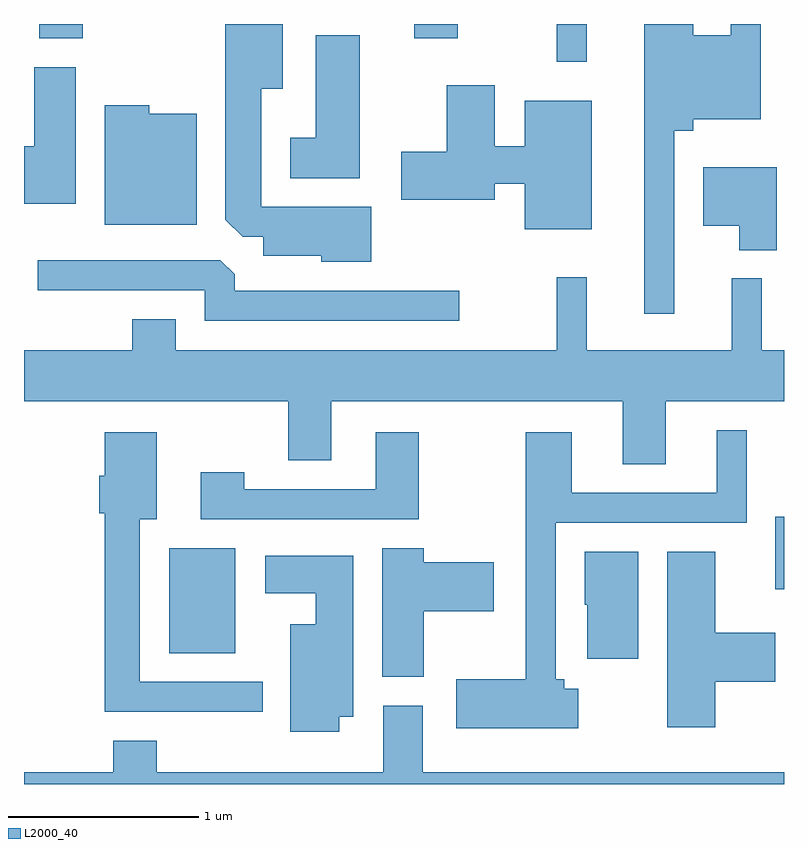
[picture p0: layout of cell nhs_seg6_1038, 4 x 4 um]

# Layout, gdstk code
import gdstk
lib = gdstk.Library(unit=1e-6, precision=1e-09)
def R(c, l, rs):  # rectangles x0, y0, x1, y1
    for r in rs: c.add(gdstk.rectangle(r[:2], r[2:], *l))
def P(c, l, *ps):  # polygons
    for p in ps: c.add(gdstk.Polygon(p, *l))
L2000_40 = (2000, 40)

nhs_seg6_1038 = lib.new_cell('nhs_seg6_1038')
R(nhs_seg6_1038, L2000_40, [(216.376,1630.851,216.724,1631.404), (219.566,1631.186,219.611,1631.569), (218.416,1633.963,218.574,1634.162), (215.691,1634.086,215.919,1634.162), (217.666,1634.086,217.894,1634.162)])
P(nhs_seg6_1038, L2000_40, [(217.439,1633.199),(216.859,1633.199),(216.859,1633.821),(216.974,1633.821),(216.974,1634.162),(216.671,1634.162),(216.671,1633.132),(216.762,1633.041),(216.871,1633.041),(216.871,1632.941),(217.176,1632.941),(217.176,1632.911),(217.439,1632.911)],
  [(219.034,1633.601),(219.134,1633.601),(219.134,1633.661),(219.489,1633.661),(219.489,1634.162),(219.331,1634.162),(219.331,1634.104),(219.134,1634.104),(219.134,1634.162),(218.876,1634.162),(218.876,1632.638),(219.034,1632.638)],
  [(217.379,1634.104),(217.146,1634.104),(217.146,1633.564),(217.011,1633.564),(217.011,1633.351),(217.379,1633.351)],
  [(215.884,1633.934),(215.666,1633.934),(215.666,1633.519),(215.611,1633.519),(215.611,1633.216),(215.884,1633.216)],
  [(218.599,1633.759),(218.246,1633.759),(218.246,1633.519),(218.089,1633.519),(218.089,1633.839),(217.836,1633.839),(217.836,1633.489),(217.596,1633.489),(217.596,1633.236),(218.089,1633.236),(218.089,1633.321),(218.246,1633.321),(218.246,1633.081),(218.599,1633.081)],
  [(216.519,1633.689),(216.269,1633.689),(216.269,1633.734),(216.036,1633.734),(216.036,1633.106),(216.519,1633.106)],
  [(219.574,1633.409),(219.186,1633.409),(219.186,1633.101),(219.376,1633.101),(219.376,1632.971),(219.574,1632.971)],
  [(217.903,1632.759),(216.719,1632.759),(216.719,1632.844),(216.644,1632.919),(215.683,1632.919),(215.683,1632.761),(216.561,1632.761),(216.561,1632.601),(217.903,1632.601)],
  [(218.989,1632.176),(219.611,1632.176),(219.611,1632.444),(219.494,1632.444),(219.494,1632.823),(219.336,1632.823),(219.336,1632.444),(218.574,1632.444),(218.574,1632.828),(218.416,1632.828),(218.416,1632.444),(216.409,1632.444),(216.409,1632.609),(216.181,1632.609),(216.181,1632.444),(215.611,1632.444),(215.611,1632.176),(217.001,1632.176),(217.001,1631.866),(217.229,1631.866),(217.229,1632.176),(218.761,1632.176),(218.761,1631.846),(218.989,1631.846)],
  [(218.529,1630.664),(218.454,1630.664),(218.454,1630.714),(218.409,1630.714),(218.409,1631.536),(219.414,1631.536),(219.414,1632.023),(219.256,1632.023),(219.256,1631.694),(218.494,1631.694),(218.494,1632.014),(218.251,1632.014),(218.251,1630.714),(217.886,1630.714),(217.886,1630.456),(218.529,1630.456)],
  [(216.868,1630.699),(216.219,1630.699),(216.219,1631.556),(216.309,1631.556),(216.309,1632.014),(216.036,1632.014),(216.036,1631.784),(216.006,1631.784),(216.006,1631.586),(216.036,1631.586),(216.036,1630.541),(216.868,1630.541)],
  [(217.689,1632.014),(217.461,1632.014),(217.461,1631.714),(216.769,1631.714),(216.769,1631.804),(216.541,1631.804),(216.541,1631.556),(217.689,1631.556)],
  [(217.714,1631.071),(218.084,1631.071),(218.084,1631.329),(217.714,1631.329),(217.714,1631.404),(217.496,1631.404),(217.496,1630.726),(217.714,1630.726)],
  [(218.844,1631.384),(218.561,1631.384),(218.561,1631.105),(218.576,1631.105),(218.576,1630.821),(218.844,1630.821)],
  [(219.249,1630.701),(219.564,1630.701),(219.564,1630.959),(219.249,1630.959),(219.249,1631.384),(218.996,1631.384),(218.996,1630.461),(219.249,1630.461)],
  [(217.269,1630.516),(217.344,1630.516),(217.344,1631.364),(216.881,1631.364),(216.881,1631.166),(217.146,1631.166),(217.146,1631.004),(217.011,1631.004),(217.011,1630.436),(217.269,1630.436)],
  [(219.611,1630.224),(217.709,1630.224),(217.709,1630.574),(217.501,1630.574),(217.501,1630.224),(216.309,1630.224),(216.309,1630.389),(216.081,1630.389),(216.081,1630.224),(215.611,1630.224),(215.611,1630.162),(219.611,1630.162)])

lib.write_gds('nhs_seg6_1038.gds')
